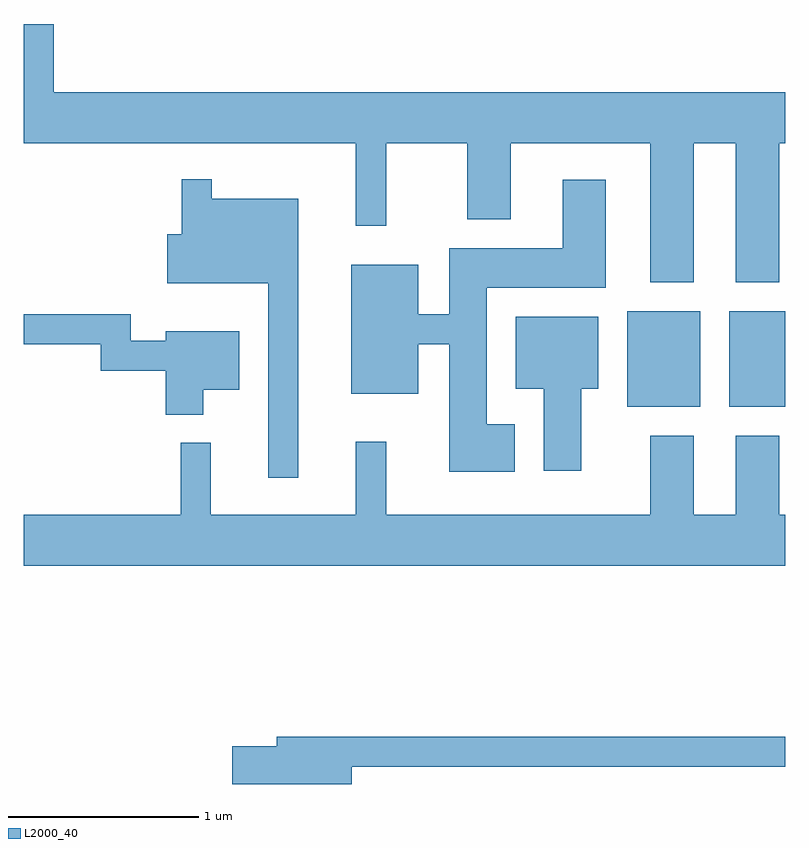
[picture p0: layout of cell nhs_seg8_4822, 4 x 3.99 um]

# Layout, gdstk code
import gdstk
lib = gdstk.Library(unit=1e-6, precision=1e-09)
def R(c, l, rs):  # rectangles x0, y0, x1, y1
    for r in rs: c.add(gdstk.rectangle(r[:2], r[2:], *l))
def P(c, l, *ps):  # polygons
    for p in ps: c.add(gdstk.Polygon(p, *l))
L2000_40 = (2000, 40)

nhs_seg8_4822 = lib.new_cell('nhs_seg8_4822')
R(nhs_seg8_4822, L2000_40, [(332.781,1868.331,333.164,1868.834), (333.316,1868.331,333.611,1868.834)])
P(nhs_seg8_4822, L2000_40, [(333.129,1869.716),(333.351,1869.716),(333.351,1868.986),(333.579,1868.986),(333.579,1869.716),(333.611,1869.716),(333.611,1869.984),(329.769,1869.984),(329.769,1870.342),(329.611,1870.342),(329.611,1869.716),(331.356,1869.716),(331.356,1869.283),(331.514,1869.283),(331.514,1869.716),(331.941,1869.716),(331.941,1869.316),(332.169,1869.316),(332.169,1869.716),(332.901,1869.716),(332.901,1868.986),(333.129,1868.986)],
  [(331.054,1869.424),(330.599,1869.424),(330.599,1869.528),(330.441,1869.528),(330.441,1869.239),(330.366,1869.239),(330.366,1868.981),(330.896,1868.981),(330.896,1867.958),(331.054,1867.958)],
  [(332.189,1868.239),(332.044,1868.239),(332.044,1868.956),(332.669,1868.956),(332.669,1869.524),(332.441,1869.524),(332.441,1869.164),(331.846,1869.164),(331.846,1868.819),(331.684,1868.819),(331.684,1869.079),(331.331,1869.079),(331.331,1868.401),(331.684,1868.401),(331.684,1868.661),(331.846,1868.661),(331.846,1867.991),(332.189,1867.991)],
  [(330.554,1868.421),(330.744,1868.421),(330.744,1868.729),(330.356,1868.729),(330.356,1868.679),(330.174,1868.679),(330.174,1868.819),(329.611,1868.819),(329.611,1868.661),(330.016,1868.661),(330.016,1868.521),(330.356,1868.521),(330.356,1868.291),(330.554,1868.291)],
  [(332.539,1868.426),(332.629,1868.426),(332.629,1868.804),(332.196,1868.804),(332.196,1868.426),(332.341,1868.426),(332.341,1867.996),(332.539,1867.996)],
  [(333.611,1867.764),(333.579,1867.764),(333.579,1868.179),(333.351,1868.179),(333.351,1867.764),(333.129,1867.764),(333.129,1868.179),(332.901,1868.179),(332.901,1867.764),(331.514,1867.764),(331.514,1868.148),(331.356,1868.148),(331.356,1867.764),(330.594,1867.764),(330.594,1868.143),(330.436,1868.143),(330.436,1867.764),(329.611,1867.764),(329.611,1867.496),(333.611,1867.496)],
  [(331.334,1866.441),(333.611,1866.441),(333.611,1866.599),(330.941,1866.599),(330.941,1866.549),(330.706,1866.549),(330.706,1866.351),(331.334,1866.351)])

lib.write_gds('nhs_seg8_4822.gds')
